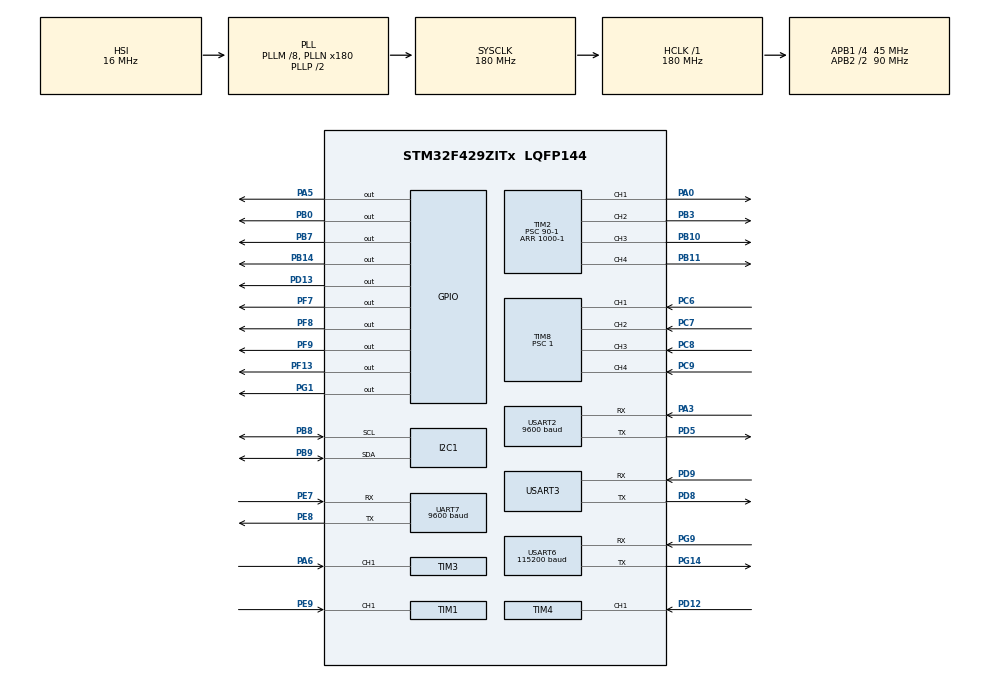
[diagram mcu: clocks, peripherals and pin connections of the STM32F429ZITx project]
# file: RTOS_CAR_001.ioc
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FREERTOS.BinarySemaphores01=UartSema,Dynamic,NULL
FREERTOS.Queues01=UartQueue,256,uint8_t,0,Dynamic,NULL,NULL
FREERTOS.Tasks01=defaultTask,0,128,StartDefaultTask,Default,NULL,Dynamic,NULL,NULL;TempTask,0,128,TempTask01,Default,NULL,Dynamic,NULL,NULL
FREERTOS.configUSE_NEWLIB_REENTRANT=1
Mcu.Family=STM32F4
Mcu.Name=STM32F429ZITx
Mcu.Package=LQFP144
NVIC.PriorityGroup=NVIC_PRIORITYGROUP_4
NVIC.TIM1_BRK_TIM9_IRQn=true\:5\:0\:false\:false\:true\:true\:true\:true\:true
NVIC.TIM1_CC_IRQn=true\:5\:0\:false\:true\:true\:2\:true\:true\:true\:true
NVIC.TIM3_IRQn=true\:5\:0\:false\:true\:true\:3\:true\:true\:true\:true
NVIC.TIM4_IRQn=true\:5\:0\:false\:true\:true\:4\:true\:true\:true\:true
NVIC.TIM5_IRQn=true\:15\:0\:false\:false\:true\:false\:false\:true\:true
NVIC.TIM8_CC_IRQn=true\:5\:0\:false\:false\:true\:true\:true\:true\:true
NVIC.TIM8_UP_TIM13_IRQn=true\:5\:0\:false\:false\:true\:true\:true\:true\:true
NVIC.TimeBase=TIM5_IRQn
NVIC.TimeBaseIP=TIM5
NVIC.UART7_IRQn=true\:5\:0\:false\:false\:true\:true\:true\:true\:true
NVIC.USART2_IRQn=true\:5\:0\:false\:false\:true\:true\:true\:true\:true
NVIC.USART3_IRQn=true\:5\:0\:false\:false\:true\:true\:true\:true\:true
NVIC.USART6_IRQn=true\:5\:0\:false\:true\:true\:1\:true\:true\:true\:true
PA0/WKUP.Signal=S_TIM2_CH1_ETR
PA13.Mode=Serial_Wire
PA13.Signal=SYS_JTMS-SWDIO
PA14.Mode=Serial_Wire
PA14.Signal=SYS_JTCK-SWCLK
PA3.Mode=Asynchronous
PA3.Signal=USART2_RX
PA5.Signal=GPIO_Output
PA6.Signal=S_TIM3_CH1
PB0.Signal=GPIO_Output
PB10.Signal=S_TIM2_CH3
PB11.Signal=S_TIM2_CH4
PB14.Signal=GPIO_Output
PB3.Signal=S_TIM2_CH2
PB7.Signal=GPIO_Output
PB8.GPIO_Pu=GPIO_PULLUP
PB8.Mode=I2C
PB8.Signal=I2C1_SCL
PB9.GPIO_Pu=GPIO_PULLUP
PB9.Mode=I2C
PB9.Signal=I2C1_SDA
PC14/OSC32_IN.Mode=LSE-External-Oscillator
PC14/OSC32_IN.Signal=RCC_OSC32_IN
PC15/OSC32_OUT.Mode=LSE-External-Oscillator
PC15/OSC32_OUT.Signal=RCC_OSC32_OUT
PC6.Signal=S_TIM8_CH1
PC7.Signal=S_TIM8_CH2
PC8.Signal=S_TIM8_CH3
PC9.Signal=S_TIM8_CH4
PD12.Signal=S_TIM4_CH1
PD13.Signal=GPIO_Output
PD5.Mode=Asynchronous
PD5.Signal=USART2_TX
PD8.Mode=Asynchronous
PD8.Signal=USART3_TX
PD9.Mode=Asynchronous
PD9.Signal=USART3_RX
PE7.Mode=Asynchronous
PE7.Signal=UART7_RX
PE8.Mode=Asynchronous
PE8.Signal=UART7_TX
PE9.Signal=S_TIM1_CH1
PF13.Signal=GPIO_Output
PF7.Signal=GPIO_Output
PF8.Signal=GPIO_Output
PF9.Signal=GPIO_Output
PG1.Signal=GPIO_Output
PG14.Mode=Asynchronous
PG14.Signal=USART6_TX
PG9.Mode=Asynchronous
PG9.Signal=USART6_RX
ProjectManager.HeapSize=0x200
ProjectManager.StackSize=0x400
ProjectManager.TargetToolchain=STM32CubeIDE
RCC.48MHZClocksFreq_Value=90000000
RCC.AHBFreq_Value=180000000
RCC.APB1CLKDivider=RCC_HCLK_DIV4
RCC.APB1Freq_Value=45000000
RCC.APB1TimFreq_Value=90000000
RCC.APB2CLKDivider=RCC_HCLK_DIV2
RCC.APB2Freq_Value=90000000
RCC.APB2TimFreq_Value=180000000
RCC.CortexFreq_Value=180000000
RCC.HCLKFreq_Value=180000000
RCC.HSE_VALUE=25000000
RCC.HSI_VALUE=16000000
RCC.PLLM=8
RCC.PLLN=180
RCC.RCC_RTC_Clock_Source=RCC_RTCCLKSOURCE_LSE
RCC.RCC_RTC_Clock_SourceVirtual=RCC_RTCCLKSOURCE_LSE
RCC.SYSCLKFreq_VALUE=180000000
RCC.SYSCLKSource=RCC_SYSCLKSOURCE_PLLCLK
RCC.VCOOutputFreq_Value=360000000
SH.S_TIM1_CH1.0=TIM1_CH1,Input_Capture1_from_TI1
SH.S_TIM2_CH1_ETR.0=TIM2_CH1,PWM Generation1 CH1
SH.S_TIM2_CH2.0=TIM2_CH2,PWM Generation2 CH2
SH.S_TIM2_CH3.0=TIM2_CH3,PWM Generation3 CH3
SH.S_TIM2_CH4.0=TIM2_CH4,PWM Generation4 CH4
SH.S_TIM3_CH1.0=TIM3_CH1,Input_Capture1_from_TI1
SH.S_TIM4_CH1.0=TIM4_CH1,Input_Capture1_from_TI1
SH.S_TIM8_CH1.0=TIM8_CH1,Input_Capture1_from_TI1
SH.S_TIM8_CH2.0=TIM8_CH2,Input_Capture2_from_TI2
SH.S_TIM8_CH3.0=TIM8_CH3,Input_Capture3_from_TI3
SH.S_TIM8_CH4.0=TIM8_CH4,Input_Capture4_from_TI4
TIM1.Channel-Input_Capture1_from_TI1=TIM_CHANNEL_1
TIM1.ICFilter_CH1=5
TIM1.ICPolarity_CH1=TIM_INPUTCHANNELPOLARITY_BOTHEDGE
TIM1.Period=0xffff-1
TIM1.Prescaler=180-1
TIM2.Channel-PWM\ Generation1\ CH1=TIM_CHANNEL_1
TIM2.Channel-PWM\ Generation2\ CH2=TIM_CHANNEL_2
TIM2.Channel-PWM\ Generation3\ CH3=TIM_CHANNEL_3
TIM2.Channel-PWM\ Generation4\ CH4=TIM_CHANNEL_4
TIM2.OCMode_PWM-PWM\ Generation1\ CH1=TIM_OCMODE_PWM2
TIM2.OCMode_PWM-PWM\ Generation2\ CH2=TIM_OCMODE_PWM2
TIM2.OCMode_PWM-PWM\ Generation3\ CH3=TIM_OCMODE_PWM2
TIM2.OCMode_PWM-PWM\ Generation4\ CH4=TIM_OCMODE_PWM2
TIM2.Period=1000-1
TIM2.Prescaler=90-1
TIM2.Pulse-PWM\ Generation1\ CH1=0
TIM3.Channel-Input_Capture1_from_TI1=TIM_CHANNEL_1
TIM3.ICFilter_CH1=5
TIM3.ICPolarity_CH1=TIM_INPUTCHANNELPOLARITY_BOTHEDGE
TIM3.Period=65535-1
TIM3.Prescaler=90-1
TIM4.Channel-Input_Capture1_from_TI1=TIM_CHANNEL_1
TIM4.ICFilter_CH1=5
TIM4.ICPolarity_CH1=TIM_INPUTCHANNELPOLARITY_BOTHEDGE
TIM4.Period=65535-1
TIM4.Prescaler=90-1
TIM8.Channel-Input_Capture1_from_TI1=TIM_CHANNEL_1
TIM8.Channel-Input_Capture2_from_TI2=TIM_CHANNEL_2
TIM8.Channel-Input_Capture3_from_TI3=TIM_CHANNEL_3
TIM8.Channel-Input_Capture4_from_TI4=TIM_CHANNEL_4
TIM8.Prescaler=1
UART7.BaudRate=9600
UART7.VirtualMode=Asynchronous
USART2.BaudRate=9600
USART2.VirtualMode=VM_ASYNC
USART3.VirtualMode=VM_ASYNC
USART6.BaudRate=115200
USART6.VirtualMode=VM_ASYNC
VP_FREERTOS_VS_CMSIS_V1.Mode=CMSIS_V1
VP_RTC_VS_RTC_Activate.Mode=RTC_Enabled
VP_SYS_VS_tim5.Mode=TIM5
VP_TIM1_VS_ClockSourceINT.Mode=Internal
VP_TIM2_VS_ClockSourceINT.Mode=Internal
VP_TIM3_VS_ClockSourceINT.Mode=Internal
VP_TIM4_VS_ClockSourceINT.Mode=Internal
VP_TIM8_VS_ClockSourceINT.Mode=Internal
board=custom

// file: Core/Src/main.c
/* USER CODE BEGIN Header */
/**
  ******************************************************************************
  * @file           : main.c
  * @brief          : Main program body
  ******************************************************************************
  * @attention
  *
  * Copyright (c) 2022 STMicroelectronics.
  * All rights reserved.
  *
  * This software is licensed under terms that can be found in the LICENSE file
  * in the root directory of this software component.
  * If no LICENSE file comes with this software, it is provided AS-IS.
  *
  ******************************************************************************
  */
/* USER CODE END Header */
#include "main.h"
#include "cmsis_os.h"
#include "i2c.h"
#include "rtc.h"
#include "tim.h"
#include "usart.h"
#include "gpio.h"

void SystemClock_Config(void);
void MX_FREERTOS_Init(void);
static void MX_NVIC_Init(void);

int main(void)
{

  /* MCU Configuration--------------------------------------------------------*/

  /* Reset of all peripherals, Initializes the Flash interface and the Systick. */
   HAL_Init();

  /* Configure the system clock */
  SystemClock_Config();

  /* Initialize all configured peripherals */
  MX_GPIO_Init();
  MX_RTC_Init();
  MX_USART2_UART_Init();
  MX_USART3_UART_Init();
  MX_UART7_Init();
  MX_I2C1_Init();
  MX_TIM2_Init();
  MX_USART6_UART_Init();
  MX_TIM1_Init();
  MX_TIM3_Init();
  MX_TIM4_Init();
  MX_TIM8_Init();

  /* Initialize interrupts */
  MX_NVIC_Init();

  /* Call init function for freertos objects (in freertos.c) */
  MX_FREERTOS_Init();

  /* Start scheduler */
  osKernelStart();

  /* We should never get here as control is now taken by the scheduler */
  /* Infinite loop */
  while (1)
  {

  }
}

void SystemClock_Config(void)
{
  RCC_OscInitTypeDef RCC_OscInitStruct = {0};
  RCC_ClkInitTypeDef RCC_ClkInitStruct = {0};

  /** Configure the main internal regulator output voltage
  */
  __HAL_RCC_PWR_CLK_ENABLE();
  __HAL_PWR_VOLTAGESCALING_CONFIG(PWR_REGULATOR_VOLTAGE_SCALE1);

  /** Initializes the RCC Oscillators according to the specified parameters
  * in the RCC_OscInitTypeDef structure.
  */
  RCC_OscInitStruct.OscillatorType = RCC_OSCILLATORTYPE_HSI|RCC_OSCILLATORTYPE_LSE;
  RCC_OscInitStruct.LSEState = RCC_LSE_ON;
  RCC_OscInitStruct.HSIState = RCC_HSI_ON;
  RCC_OscInitStruct.HSICalibrationValue = RCC_HSICALIBRATION_DEFAULT;
  RCC_OscInitStruct.PLL.PLLState = RCC_PLL_ON;
  RCC_OscInitStruct.PLL.PLLSource = RCC_PLLSOURCE_HSI;
  RCC_OscInitStruct.PLL.PLLM = 8;
  RCC_OscInitStruct.PLL.PLLN = 180;
  RCC_OscInitStruct.PLL.PLLP = RCC_PLLP_DIV2;
  RCC_OscInitStruct.PLL.PLLQ = 4;
  if (HAL_RCC_OscConfig(&RCC_OscInitStruct) != HAL_OK)
  {
    Error_Handler();
  }

  /** Activate the Over-Drive mode
  */
  if (HAL_PWREx_EnableOverDrive() != HAL_OK)
  {
    Error_Handler();
  }

  /** Initializes the CPU, AHB and APB buses clocks
  */
  RCC_ClkInitStruct.ClockType = RCC_CLOCKTYPE_HCLK|RCC_CLOCKTYPE_SYSCLK
                              |RCC_CLOCKTYPE_PCLK1|RCC_CLOCKTYPE_PCLK2;
  RCC_ClkInitStruct.SYSCLKSource = RCC_SYSCLKSOURCE_PLLCLK;
  RCC_ClkInitStruct.AHBCLKDivider = RCC_SYSCLK_DIV1;
  RCC_ClkInitStruct.APB1CLKDivider = RCC_HCLK_DIV4;
  RCC_ClkInitStruct.APB2CLKDivider = RCC_HCLK_DIV2;

  if (HAL_RCC_ClockConfig(&RCC_ClkInitStruct, FLASH_LATENCY_5) != HAL_OK)
  {
    Error_Handler();
  }
}

/**
  * @brief NVIC Configuration.
  * @retval None
  */
static void MX_NVIC_Init(void)
{
  /* USART6_IRQn interrupt configuration */
  HAL_NVIC_SetPriority(USART6_IRQn, 5, 0);
  HAL_NVIC_EnableIRQ(USART6_IRQn);
  /* TIM1_CC_IRQn interrupt configuration */
  HAL_NVIC_SetPriority(TIM1_CC_IRQn, 5, 0);
  HAL_NVIC_EnableIRQ(TIM1_CC_IRQn);
  /* TIM3_IRQn interrupt configuration */
  HAL_NVIC_SetPriority(TIM3_IRQn, 5, 0);
  HAL_NVIC_EnableIRQ(TIM3_IRQn);
  /* TIM4_IRQn interrupt configuration */
  HAL_NVIC_SetPriority(TIM4_IRQn, 5, 0);
  HAL_NVIC_EnableIRQ(TIM4_IRQn);
}

void HAL_TIM_PeriodElapsedCallback(TIM_HandleTypeDef *htim)
{
  if (htim->Instance == TIM5) {
    HAL_IncTick();
  }
}

void Error_Handler(void)
{
  __disable_irq();
  while (1)
  {
  }
}

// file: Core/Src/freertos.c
/* USER CODE BEGIN Header */
/**
  ******************************************************************************
  * File Name          : freertos.c
  * Description        : Code for freertos applications
  ******************************************************************************
  * @attention
  *
  * Copyright (c) 2022 STMicroelectronics.
  * All rights reserved.
  *
  * This software is licensed under terms that can be found in the LICENSE file
  * in the root directory of this software component.
  * If no LICENSE file comes with this software, it is provided AS-IS.
  *
  ******************************************************************************
  */
/* USER CODE END Header */

#include "FreeRTOS.h"
#include "task.h"
#include "main.h"
#include "cmsis_os.h"

/* USER CODE BEGIN Includes */
#include "stdio.h"
#include "string.h"
#include "motor.h"
#include "usart.h"
#include "hcsr04.h"
/* USER CODE END Includes */

/* USER CODE BEGIN PD */
typedef enum {
	UP,
	DOWN
}ODO_STAT;

typedef enum {
	AUTO,
	HANDLE,
}CONTROLLER_MODE;

/* USER CODE END PD */

/* USER CODE BEGIN Variables */

//uint8_t odo_flag;
//uint32_t odo_count;

osThreadId     Task1Handle;
osThreadId     Task2Handle;

/*
 * Distance[0], Difference[0] = Left
 * Distance[1], Difference[1] = Front
 * Distance[2], Difference[2] = Right
 * */

uint32_t pwm_val[4] = {500,500,500,500};
//uint32_t pwm_val[4] = {950,950,950,950};
uint8_t rx;
int ratio = 5;
int time = 1000;
int speed = 100;
CONTROLLER_MODE motor_mode;

osThreadId     HS_SR04_Left_Checking;
osThreadId     HS_SR04_Front_Checking;
osThreadId     HS_SR04_Right_Checking;

osThreadId     HS_SR04_Left_Handle;
osThreadId     HS_SR04_Front_Handle;
osThreadId     HS_SR04_Right_Handle;
uint8_t rx_data[2];
char pi_buf[20] = {0};
int avg = 0;

/* USER CODE END Variables */
osThreadId defaultTaskHandle;
osThreadId TempTaskHandle;
osMessageQId UartQueueHandle;
osSemaphoreId UartSemaHandle;

/* USER CODE BEGIN FunctionPrototypes */

void ThreadInit () ;
int odo_adjust (int odo_num, ODO_STAT odo_status);

void CheckingUartReceive (void const * argument);
void CheckingLeft (void const * argument);
void CheckingFront (void const * argument);
void CheckingRight (void const * argument);
/** Car Control Using RasberryPi*/
void odometryTask (void const * argument);
void SonicDis (void const * argument);
void CarFrontSide (void const * argument);
void CarRightSide (void const * argument);

/* USER CODE END FunctionPrototypes */

void StartDefaultTask(void const * argument);
void CheckingSpeed(void const * argument);

void MX_FREERTOS_Init(void); /* (MISRA C 2004 rule 8.1) */

/* GetIdleTaskMemory prototype (linked to static allocation support) */
void vApplicationGetIdleTaskMemory( StaticTask_t **ppxIdleTaskTCBBuffer, StackType_t **ppxIdleTaskStackBuffer, uint32_t *pulIdleTaskStackSize );

/* USER CODE BEGIN GET_IDLE_TASK_MEMORY */
static StaticTask_t xIdleTaskTCBBuffer;
static StackType_t xIdleStack[configMINIMAL_STACK_SIZE];
void vApplicationGetIdleTaskMemory( StaticTask_t **ppxIdleTaskTCBBuffer, StackType_t **ppxIdleTaskStackBuffer, uint32_t *pulIdleTaskStackSize )
{
  *ppxIdleTaskTCBBuffer = &xIdleTaskTCBBuffer;
  *ppxIdleTaskStackBuffer = &xIdleStack[0];
  *pulIdleTaskStackSize = configMINIMAL_STACK_SIZE;
  /* place for user code */
}
/* USER CODE END GET_IDLE_TASK_MEMORY */

void MX_FREERTOS_Init(void) {
  /* USER CODE BEGIN Init */
	  Motor_Init();
	  HAL_TIM_IC_Start_IT(&htim1, TIM_CHANNEL_1);
	  HAL_TIM_IC_Start_IT(&htim3, TIM_CHANNEL_1);
	  HAL_TIM_IC_Start_IT(&htim4, TIM_CHANNEL_1);

	  HAL_TIM_IC_Start_IT(&htim8, TIM_CHANNEL_1);
	  HAL_TIM_IC_Start_IT(&htim8, TIM_CHANNEL_2);
	  HAL_TIM_IC_Start_IT(&htim8, TIM_CHANNEL_3);
	  HAL_TIM_IC_Start_IT(&htim8, TIM_CHANNEL_4);

	  HAL_UART_Receive_IT(&huart3, &rx_data[0], 1);
	  HAL_UART_Receive_IT(&huart6, &rx_data[0], 1);
  /* USER CODE END Init */

  /* Create the semaphores(s) */
  /* definition and creation of UartSema */
  osSemaphoreDef(UartSema);
  UartSemaHandle = osSemaphoreCreate(osSemaphore(UartSema), 1);

  /* Create the queue(s) */
  /* definition and creation of UartQueue */
  osMessageQDef(UartQueue, 256, uint8_t);
  UartQueueHandle = osMessageCreate(osMessageQ(UartQueue), NULL);

  /* Create the thread(s) */
  /* definition and creation of defaultTask */
  osThreadDef(defaultTask, StartDefaultTask, osPriorityNormal, 0, 128);
  defaultTaskHandle = osThreadCreate(osThread(defaultTask), NULL);

  /* definition and creation of TempTask */
  osThreadDef(TempTask, CheckingSpeed, osPriorityNormal, 0, 128);
  TempTaskHandle = osThreadCreate(osThread(TempTask), NULL);

  /* USER CODE BEGIN RTOS_THREADS */
  /* add threads, ... */
  ThreadInit ();
  /* USER CODE END RTOS_THREADS */

}

void StartDefaultTask(void const * argument)
{
	for (;;) {}
}

void CheckingSpeed(void const * argument)
{
  /* USER CODE BEGIN TempTask01 */
	uint32_t before_count[4] = {0};
	uint32_t count_gap[4] = {0};
  /* Infinite loop */
  for(;;)
  {

		// check the safety maximun speed
		// and add some Algorithms
		for(int i = 0; i < 4; i++) {
			count_gap[i] = odo_count[i] - before_count[i];

			if(odo_flag[i] == 1) {
				if (count_gap[i] < (speed/ratio) ) {
					odo_adjust(i, UP);
				}
				else if (count_gap[i] > (speed/ratio)) {
					odo_adjust(i, DOWN);
				}
			}
			before_count[i] = odo_count[i];
		}
		osDelay(50);
  }
  /* USER CODE END TempTask01 */
}

/* USER CODE BEGIN Application */

void CheckingUartReceive (void const * argument)
{
    /* Infinite loop */
    for(;;)
    {
    	//HAL_UART_Receive_IT(&huart3, &rx, 1);
    	HAL_UART_Receive_IT(&huart3, &rx_data[0], 1);
    	HAL_UART_Receive_IT(&huart6, &rx_data[0], 1);
    	osDelay(10);
    }
}
// Task ---------------------------------------------------------------------------------------
void odometryTask (void const * argument)
{

	  /* USER CODE BEGIN StartDefaultTask */
	    BaseType_t xHigherPriorityWasTaken = pdFALSE;
	    BaseType_t ret = pdTRUE;      // if semaphore is ret you know that isr give you queue
	    signed char cByteRxed = '\0'; // this value is what you receive
//	    char pi_buf[20] = {0};
	    int odo_event = 0;
	    char odo[20] = {0};
	    int idx = 0;
//		int avg = 0;
		int sum = 0;
	    BaseType_t read = pdFALSE;

	  /* Infinite loop */
		for (;;) {

			/* Block until the next char is available. */
			ret = xSemaphoreTakeFromISR(UartSemaHandle, &xHigherPriorityWasTaken);
			if (ret == pdPASS) {
				/* Handle character in QUEUE */

				xQueueReceiveFromISR(UartQueueHandle, &cByteRxed,&xHigherPriorityWasTaken);
				if(cByteRxed == '[') {
					pi_buf[idx++] = cByteRxed;
					read = pdTRUE;
				}

				while (read) {
					// receive example [1,300] , [direction, odo_count]
					xQueueReceiveFromISR(UartQueueHandle, &cByteRxed,&xHigherPriorityWasTaken);
					pi_buf[idx++] = cByteRxed;

					if(cByteRxed == ']') {
						pi_buf[idx] = 0;

						int direction = pi_buf[1] - '0';
						// do something . . .
						if (direction < 7) {
						odo_event += (pi_buf[3] - '0') * 1000;
						odo_event += (pi_buf[4] - '0') * 100;
						odo_event += (pi_buf[5] - '0') * 10;
						odo_event += (pi_buf[6] - '0') * 1;
						Move(direction);
						read = pdFALSE;
						memset(pi_buf, 0, sizeof(pi_buf));
						idx = 0;
						}
					}
				}

				//odo_event is the value for the odometry and the sonic detect the thing
				for (int i = 0; i < 4; i++) {
					sum += odo_count[i];
				}
				avg = sum / 4;

				if(odo_event <= avg) {
					Move(STOP);
					//transmit the odo_count to the rp_pi
					sprintf(odo, "<0,%04d>", avg);
					HAL_UART_Transmit(&huart3, (uint8_t*) odo, strlen(odo),100);
					sum = 0;
					avg = 0;
					odo_event = 0;
				}
			}
			osDelay(10);
		}
	  /* USER CODE END StartDefaultTask */
}

// Sonic Threads =================================================================================
// Sonic Threads =================================================================================
void CarFrontSide (void const * argument){

	for (;;) {
//    	HCSR04_Read(&htim1, GPIOF, GPIO_PIN_13);
    	osDelay(60);
	}
}
void CheckingLeft (void const * argument) {
    /* Infinite loop */
    for(;;)
    {
    	HCSR04_Read(&htim1, GPIOF, GPIO_PIN_13);
    	osDelay(60);
    }
}
void CheckingFront (void const * argument) {
    /* Infinite loop */
    for(;;)
    {
    	HCSR04_Read(&htim3, GPIOA, GPIO_PIN_5);
    	osDelay(60);
    }
}
void CheckingRight (void const * argument) {
    /* Infinite loop */
    for(;;)
    {
    	HCSR04_Read(&htim4, GPIOD, GPIO_PIN_13);
    	osDelay(60);
    }
}

void CarRightSide (void const * argument){

	for (;;) {

		osDelay(500);
	}
}

void SonicDis (void const * argument){

	char odo[20];

	// hcsr04 test
	for (;;) {

		//when sonic detect the object
		if(Distance[0] <= DANGER_DIS ||
		   Distance[1] <= DANGER_DIS ||
		   Distance[2] <= DANGER_DIS ) {

			if (motor_mode == AUTO) {
				//when using rasberry pi use this
				//HAL_UART_Transmit(&huart6, (uint8_t*)dis, strlen(dis), 100);

				motor_mode = HANDLE;

				int sum = 0;
				int avg = 0;
				for(int i = 0; i < 4; i++) {
					sum += odo_count[i];
				}
				avg = sum/4;

				Move(0);
				if (avg != 0) {
					sprintf(odo,"<1,%04d>", avg);
	 				HAL_UART_Transmit(&huart3, (uint8_t*)odo, strlen(odo), 100);
				}
			}
		}
		else if (Distance[0] > DANGER_DIS &&
				 Distance[1] > DANGER_DIS &&
				 Distance[2] > DANGER_DIS &&
				 motor_mode == HANDLE) {
			motor_mode = AUTO;
		}

		osDelay(100);
	}
}

// Sonic Threads =================================================================================
// Sonic Threads =================================================================================

// ISR Checking-------------------------------------------------------------------------------

// CallBack Session
void HAL_UART_RxCpltCallback(UART_HandleTypeDef *huart)
{
  /* Prevent unused argument(s) compilation warning */
	char *pErrStr = "ERR : QTx Fail!\r\n";
	// typedef long BaseType_t;
	BaseType_t ret = pdTRUE;
	//#define portBASE_TYPE	long
	portBASE_TYPE xHigherPriorityTaskWoken = pdFALSE;

	if(huart->Instance == USART6) {

		ret = xQueueSendFromISR(UartQueueHandle, &rx_data[0], &xHigherPriorityTaskWoken );
		if(ret) {
			xSemaphoreGiveFromISR( UartSemaHandle, &xHigherPriorityTaskWoken );
		}
		else {
			HAL_UART_Transmit(&huart6, (uint8_t*)pErrStr, strlen(pErrStr), 0xffff);
		}
		HAL_UART_Receive_IT(&huart6, &rx_data[0], 1);
	}

	//STM32 TSET at the Desktop
	if(huart->Instance == USART3) {

		ret = xQueueSendFromISR(UartQueueHandle, &rx_data[0], &xHigherPriorityTaskWoken );
		if(ret) {
			xSemaphoreGiveFromISR( UartSemaHandle, &xHigherPriorityTaskWoken );
		}
		else {
			HAL_UART_Transmit(&huart3, (uint8_t*)pErrStr, strlen(pErrStr), 0xffff);
		}
		HAL_UART_Receive_IT(&huart3, &rx_data[0], 1);
	}

//	portEND_SWITCHING_ISR( xHigherPriorityTaskWoken );

  /* NOTE: This function should not be modified, when the callback is needed,
           the HAL_UART_RxCpltCallback could be implemented in the user file
   */
}

void HAL_TIM_IC_CaptureCallback(TIM_HandleTypeDef *htim)
{
	//Checking the left Distance
	if (htim->Instance == TIM1) {
		if (htim->Channel == HAL_TIM_ACTIVE_CHANNEL_1)
		{
			Distance[0] = HC_SRO4_Dis(htim, 0);
		}
	}

	//Checking the Front Distance
	if (htim->Instance == TIM3) {
		if (htim->Channel == HAL_TIM_ACTIVE_CHANNEL_1)
		{
			Distance[1] = HC_SRO4_Dis(htim, 1);
		}
	}

	//Checking the Right Distance
	if (htim->Instance == TIM4) {
		if (htim->Channel == HAL_TIM_ACTIVE_CHANNEL_1)
		{
			Distance[2] = HC_SRO4_Dis(htim, 2);
		}
	}

	//using the general purpose timer because i will use checking the signal only
	if (htim->Instance == TIM8) {
		if (htim->Channel == HAL_TIM_ACTIVE_CHANNEL_1) {
			if (odo_flag[0] == 1) {
				odo_count[0]++;
			}
		}
		if (htim->Channel == HAL_TIM_ACTIVE_CHANNEL_2) {
			if (odo_flag[1] == 1) {
				odo_count[1]++;
			}
		}
		if (htim->Channel == HAL_TIM_ACTIVE_CHANNEL_3) {
			if (odo_flag[2] == 1) {
				odo_count[2]++;
			}
		}
		if (htim->Channel == HAL_TIM_ACTIVE_CHANNEL_4) {
			if (odo_flag[3] == 1) {
				odo_count[3]++;
			}
		}
	}
}

void ThreadInit () {
	  osThreadDef(defaultTask, StartDefaultTask, osPriorityNormal, 0, 128);
	  defaultTaskHandle = osThreadCreate(osThread(defaultTask), NULL);

	  osThreadDef(UartCheck, CheckingUartReceive, osPriorityNormal, 0,configMINIMAL_STACK_SIZE*1);
	  Task1Handle = osThreadCreate(osThread(UartCheck), NULL);
	  if(!Task1Handle)
		  printf("ERR : Console Task Creation Failure !\r\n");

	  osThreadDef(UartTask, odometryTask, osPriorityNormal, 0,configMINIMAL_STACK_SIZE*1);
	  Task2Handle = osThreadCreate(osThread(UartTask), NULL);

	  if(!Task2Handle)
	     printf("ERR : CLI Task Creation Failure !\r\n");

	  // HC-SR04 LEFT -------------------------------------------------------------------------------------------------------
	  osThreadDef(LeftCheck, CheckingLeft, osPriorityNormal, 0,configMINIMAL_STACK_SIZE*1);
	  HS_SR04_Left_Checking = osThreadCreate(osThread(LeftCheck), NULL);
	  if(!HS_SR04_Left_Checking)
		  printf("ERR : HS_SR04_left_Checking Creation Failure !\r\n");

	  osThreadDef(LeftTask, SonicDis, osPriorityNormal, 0,configMINIMAL_STACK_SIZE*1);
	  HS_SR04_Left_Handle = osThreadCreate(osThread(LeftTask), NULL);
	  if(!HS_SR04_Left_Handle)
		  printf("ERR : HS_SR04_left_Handle Creation Failure !\r\n");

	  // HC-SR04 FRONT -------------------------------------------------------------------------------------------------------
	  osThreadDef(FrontCheck, CheckingFront, osPriorityNormal, 0,configMINIMAL_STACK_SIZE*1);
	  HS_SR04_Front_Checking = osThreadCreate(osThread(FrontCheck), NULL);
	  if(!HS_SR04_Front_Checking)
		  printf("ERR : HS_SR04_Front_Checking Creation Failure !\r\n");

	  osThreadDef(FrontTask, CarFrontSide, osPriorityNormal, 0,configMINIMAL_STACK_SIZE*1);
	  HS_SR04_Front_Handle = osThreadCreate(osThread(FrontTask), NULL);
	  if(!HS_SR04_Front_Handle)
		  printf("ERR : HS_SR04_Front_Handle Creation Failure !\r\n");

	  // HC-SR04 RIGHT -------------------------------------------------------------------------------------------------------
	  osThreadDef(RightCheck, CheckingRight, osPriorityNormal, 0,configMINIMAL_STACK_SIZE*1);
	  HS_SR04_Right_Checking = osThreadCreate(osThread(RightCheck), NULL);
	  if(!HS_SR04_Right_Checking)
		  printf("ERR : HS_SR04_Right_Checking Creation Failure !\r\n");

	  osThreadDef(RightTask, CarRightSide, osPriorityNormal, 0,configMINIMAL_STACK_SIZE*1);
	  HS_SR04_Right_Handle = osThreadCreate(osThread(RightTask), NULL);
	  if(!HS_SR04_Right_Handle)
		  printf("ERR : HS_SR04_Right_Handle Creation Failure !\r\n");
}

//Func
int odo_adjust (int odo_num, ODO_STAT odo_status) {

	if (odo_num == 0 && odo_status == UP) {
		pwm_val[0] += 5;
	}
	else if (odo_num == 0 && odo_status == DOWN) {
		pwm_val[0] -= 5;
	}
//---------------------------------------------------------------------
	if (odo_num == 1 && odo_status == UP) {
		pwm_val[1] += 5;
	}
	else if (odo_num == 1 && odo_status == DOWN) {
		pwm_val[1] -= 5;
	}
//---------------------------------------------------------------------
	if (odo_num == 2 && odo_status == UP) {
		pwm_val[2] += 5;
	}
	else if (odo_num == 2 && odo_status == DOWN) {
		pwm_val[2] -= 5;
	}
//---------------------------------------------------------------------
	if (odo_num == 3 && odo_status == UP) {
		pwm_val[3] += 5;
	}
	else if (odo_num == 3 && odo_status == DOWN) {
		pwm_val[3] -= 5;
	}

//---------------------------------------------------------------------
	// safety speed
	for(int i = 0; i < 4; i++) {
		if (pwm_val[i] > 950) {
			pwm_val[i] = 950;
		}
	}

	TIM2->CCR4 = pwm_val[0];		//odo_count[0]
	TIM2->CCR3 = pwm_val[1];		//odo_count[1]
	TIM2->CCR1 = pwm_val[2];		//odo_count[2]
	TIM2->CCR2 = pwm_val[3];		//odo_count[3]

	return 0;
}
/* USER CODE END Application */
